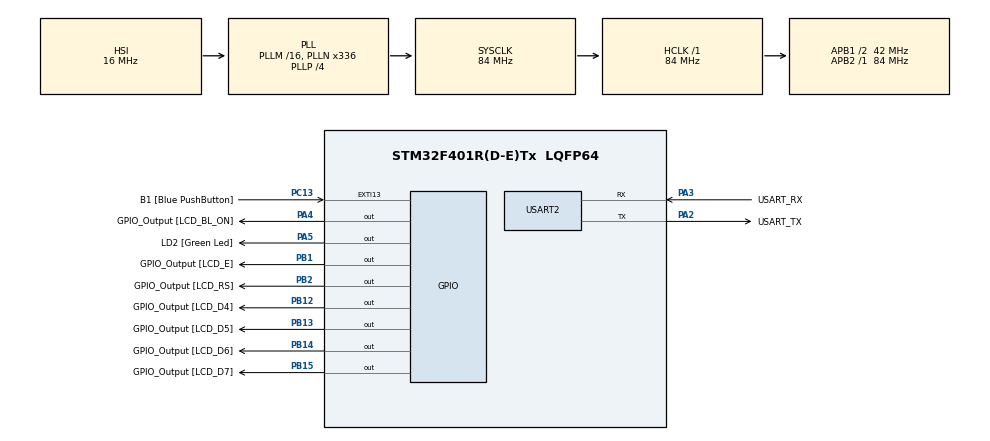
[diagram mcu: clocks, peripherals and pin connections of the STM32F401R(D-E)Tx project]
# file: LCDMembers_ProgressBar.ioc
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Mcu.Family=STM32F4
Mcu.Name=STM32F401R(D-E)Tx
Mcu.Package=LQFP64
NVIC.PriorityGroup=NVIC_PRIORITYGROUP_4
NVIC.TIM2_IRQn=true\:0\:0\:false\:false\:true\:true\:true\:true
PA13.GPIO_Label=TMS
PA13.Mode=Trace_Asynchronous_SW
PA13.Signal=SYS_JTMS-SWDIO
PA14.GPIO_Label=TCK
PA14.Mode=Trace_Asynchronous_SW
PA14.Signal=SYS_JTCK-SWCLK
PA2.GPIO_Label=USART_TX
PA2.GPIO_Mode=GPIO_MODE_AF_PP
PA2.GPIO_PuPd=GPIO_NOPULL
PA2.GPIO_Speed=GPIO_SPEED_FREQ_LOW
PA2.Mode=Asynchronous
PA2.Signal=USART2_TX
PA3.GPIO_Label=USART_RX
PA3.GPIO_Mode=GPIO_MODE_AF_PP
PA3.GPIO_PuPd=GPIO_NOPULL
PA3.GPIO_Speed=GPIO_SPEED_FREQ_LOW
PA3.Mode=Asynchronous
PA3.Signal=USART2_RX
PA4.GPIO_Label=GPIO_Output [LCD_BL_ON]
PA4.Signal=GPIO_Output
PA5.GPIO_Label=LD2 [Green Led]
PA5.GPIO_Mode=GPIO_MODE_OUTPUT_PP
PA5.GPIO_PuPd=GPIO_NOPULL
PA5.GPIO_Speed=GPIO_SPEED_FREQ_LOW
PA5.Signal=GPIO_Output
PB1.GPIO_Label=GPIO_Output [LCD_E]
PB1.Signal=GPIO_Output
PB12.GPIO_Label=GPIO_Output [LCD_D4]
PB12.Signal=GPIO_Output
PB13.GPIO_Label=GPIO_Output [LCD_D5]
PB13.Signal=GPIO_Output
PB14.GPIO_Label=GPIO_Output [LCD_D6]
PB14.Signal=GPIO_Output
PB15.GPIO_Label=GPIO_Output [LCD_D7]
PB15.Signal=GPIO_Output
PB2.GPIO_Label=GPIO_Output [LCD_RS]
PB2.Signal=GPIO_Output
PB3.GPIO_Label=SWO
PB3.Mode=Trace_Asynchronous_SW
PB3.Signal=SYS_JTDO-SWO
PC13-ANTI_TAMP.GPIO_Label=B1 [Blue PushButton]
PC13-ANTI_TAMP.GPIO_ModeDefaultEXTI=GPIO_MODE_IT_FALLING
PC13-ANTI_TAMP.GPIO_PuPd=GPIO_NOPULL
PC13-ANTI_TAMP.Signal=GPXTI13
PC14-OSC32_IN.Mode=LSE-External-Oscillator
PC14-OSC32_IN.Signal=RCC_OSC32_IN
PC15-OSC32_OUT.Mode=LSE-External-Oscillator
PC15-OSC32_OUT.Signal=RCC_OSC32_OUT
PH0\ -\ OSC_IN.Mode=HSE-External-Clock-Source
PH0\ -\ OSC_IN.Signal=RCC_OSC_IN
PH1\ -\ OSC_OUT.Mode=HSE-External-Clock-Source
PH1\ -\ OSC_OUT.Signal=RCC_OSC_OUT
ProjectManager.HeapSize=0x200
ProjectManager.StackSize=0x400
ProjectManager.TargetToolchain=STM32CubeIDE
RCC.48MHZClocksFreq_Value=48000000
RCC.AHBFreq_Value=84000000
RCC.APB1CLKDivider=RCC_HCLK_DIV2
RCC.APB1Freq_Value=42000000
RCC.APB1TimFreq_Value=84000000
RCC.APB2Freq_Value=84000000
RCC.APB2TimFreq_Value=84000000
RCC.CortexFreq_Value=84000000
RCC.HCLKFreq_Value=84000000
RCC.HSE_VALUE=8000000
RCC.HSI_VALUE=16000000
RCC.PLLN=336
RCC.PLLP=RCC_PLLP_DIV4
RCC.PLLQ=7
RCC.SYSCLKFreq_VALUE=84000000
RCC.SYSCLKSource=RCC_SYSCLKSOURCE_PLLCLK
RCC.VCOOutputFreq_Value=336000000
TIM2.Period=9999
TIM2.Prescaler=8399
USART2.VirtualMode=VM_ASYNC
VP_TIM2_VS_ClockSourceINT.Mode=Internal
board=NUCLEO-F401RE

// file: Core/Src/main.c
/* USER CODE BEGIN Header */
/**
  ******************************************************************************
  * @file           : main.c
  * @brief          : Main program body
  ******************************************************************************
  * @attention
  *
  * Copyright (c) 2025 STMicroelectronics.
  * All rights reserved.
  *
  * This software is licensed under terms that can be found in the LICENSE file
  * in the root directory of this software component.
  * If no LICENSE file comes with this software, it is provided AS-IS.
  *
  ******************************************************************************
  */
/* USER CODE END Header */
#include "main.h"

/* USER CODE BEGIN Includes */
#include "PMDB16_LCD.h"
/* USER CODE END Includes */

TIM_HandleTypeDef htim2;

UART_HandleTypeDef huart2;

/* USER CODE BEGIN PV */
char *names[] = {
    "Mirko",
    "Christian",
    "Gabriele",
    "Mostafa",
    "Sunandha"
};
int NUM_NAMES = sizeof(names)/sizeof(names[0]);
volatile int i = 0;
/* USER CODE END PV */

void SystemClock_Config(void);
static void MX_GPIO_Init(void);
static void MX_USART2_UART_Init(void);
static void MX_TIM2_Init(void);

/* USER CODE BEGIN 0 */
void HAL_TIM_PeriodElapsedCallback(TIM_HandleTypeDef *htim){
    if (htim->Instance == TIM2){

    	lcd_println(names[i], 0);

    	int bar = i * 80 / 5;
    	lcd_drawBar(bar);
    	i = (i + 1) % NUM_NAMES;
	}
}
/* USER CODE END 0 */

int main(void)
{

  /* MCU Configuration--------------------------------------------------------*/

  /* Reset of all peripherals, Initializes the Flash interface and the Systick. */
  HAL_Init();

  /* Configure the system clock */
  SystemClock_Config();

  /* Initialize all configured peripherals */
  MX_GPIO_Init();
  MX_USART2_UART_Init();
  MX_TIM2_Init();
  /* USER CODE BEGIN 2 */
  lcd_initialize();
  lcd_println(names[i], 1);
  HAL_TIM_Base_Start_IT(&htim2);
  /* USER CODE END 2 */

  /* Infinite loop */
  while (1)
  {

  }
}

void SystemClock_Config(void)
{
  RCC_OscInitTypeDef RCC_OscInitStruct = {0};
  RCC_ClkInitTypeDef RCC_ClkInitStruct = {0};

  /** Configure the main internal regulator output voltage
  */
  __HAL_RCC_PWR_CLK_ENABLE();
  __HAL_PWR_VOLTAGESCALING_CONFIG(PWR_REGULATOR_VOLTAGE_SCALE2);

  /** Initializes the RCC Oscillators according to the specified parameters
  * in the RCC_OscInitTypeDef structure.
  */
  RCC_OscInitStruct.OscillatorType = RCC_OSCILLATORTYPE_HSI;
  RCC_OscInitStruct.HSIState = RCC_HSI_ON;
  RCC_OscInitStruct.HSICalibrationValue = RCC_HSICALIBRATION_DEFAULT;
  RCC_OscInitStruct.PLL.PLLState = RCC_PLL_ON;
  RCC_OscInitStruct.PLL.PLLSource = RCC_PLLSOURCE_HSI;
  RCC_OscInitStruct.PLL.PLLM = 16;
  RCC_OscInitStruct.PLL.PLLN = 336;
  RCC_OscInitStruct.PLL.PLLP = RCC_PLLP_DIV4;
  RCC_OscInitStruct.PLL.PLLQ = 7;
  if (HAL_RCC_OscConfig(&RCC_OscInitStruct) != HAL_OK)
  {
    Error_Handler();
  }

  /** Initializes the CPU, AHB and APB buses clocks
  */
  RCC_ClkInitStruct.ClockType = RCC_CLOCKTYPE_HCLK|RCC_CLOCKTYPE_SYSCLK
                              |RCC_CLOCKTYPE_PCLK1|RCC_CLOCKTYPE_PCLK2;
  RCC_ClkInitStruct.SYSCLKSource = RCC_SYSCLKSOURCE_PLLCLK;
  RCC_ClkInitStruct.AHBCLKDivider = RCC_SYSCLK_DIV1;
  RCC_ClkInitStruct.APB1CLKDivider = RCC_HCLK_DIV2;
  RCC_ClkInitStruct.APB2CLKDivider = RCC_HCLK_DIV1;

  if (HAL_RCC_ClockConfig(&RCC_ClkInitStruct, FLASH_LATENCY_2) != HAL_OK)
  {
    Error_Handler();
  }
}

static void MX_TIM2_Init(void)
{

  TIM_ClockConfigTypeDef sClockSourceConfig = {0};
  TIM_MasterConfigTypeDef sMasterConfig = {0};

  htim2.Instance = TIM2;
  htim2.Init.Prescaler = 8399;
  htim2.Init.CounterMode = TIM_COUNTERMODE_UP;
  htim2.Init.Period = 9999;
  htim2.Init.ClockDivision = TIM_CLOCKDIVISION_DIV1;
  htim2.Init.AutoReloadPreload = TIM_AUTORELOAD_PRELOAD_DISABLE;
  if (HAL_TIM_Base_Init(&htim2) != HAL_OK)
  {
    Error_Handler();
  }
  sClockSourceConfig.ClockSource = TIM_CLOCKSOURCE_INTERNAL;
  if (HAL_TIM_ConfigClockSource(&htim2, &sClockSourceConfig) != HAL_OK)
  {
    Error_Handler();
  }
  sMasterConfig.MasterOutputTrigger = TIM_TRGO_RESET;
  sMasterConfig.MasterSlaveMode = TIM_MASTERSLAVEMODE_DISABLE;
  if (HAL_TIMEx_MasterConfigSynchronization(&htim2, &sMasterConfig) != HAL_OK)
  {
    Error_Handler();
  }

}

static void MX_USART2_UART_Init(void)
{

  huart2.Instance = USART2;
  huart2.Init.BaudRate = 115200;
  huart2.Init.WordLength = UART_WORDLENGTH_8B;
  huart2.Init.StopBits = UART_STOPBITS_1;
  huart2.Init.Parity = UART_PARITY_NONE;
  huart2.Init.Mode = UART_MODE_TX_RX;
  huart2.Init.HwFlowCtl = UART_HWCONTROL_NONE;
  huart2.Init.OverSampling = UART_OVERSAMPLING_16;
  if (HAL_UART_Init(&huart2) != HAL_OK)
  {
    Error_Handler();
  }

}

static void MX_GPIO_Init(void)
{
  GPIO_InitTypeDef GPIO_InitStruct = {0};

  /* GPIO Ports Clock Enable */
  __HAL_RCC_GPIOC_CLK_ENABLE();
  __HAL_RCC_GPIOH_CLK_ENABLE();
  __HAL_RCC_GPIOA_CLK_ENABLE();
  __HAL_RCC_GPIOB_CLK_ENABLE();

  /*Configure GPIO pin Output Level */
  HAL_GPIO_WritePin(GPIOA, GPIO_Output_Pin|LD2_Pin, GPIO_PIN_RESET);

  /*Configure GPIO pin Output Level */
  HAL_GPIO_WritePin(GPIOB, GPIO_OutputB1_Pin|GPIO_OutputB2_Pin|GPIO_OutputB12_Pin|GPIO_OutputB13_Pin
                          |GPIO_OutputB14_Pin|GPIO_OutputB15_Pin, GPIO_PIN_RESET);

  /*Configure GPIO pin : B1_Pin */
  GPIO_InitStruct.Pin = B1_Pin;
  GPIO_InitStruct.Mode = GPIO_MODE_IT_FALLING;
  GPIO_InitStruct.Pull = GPIO_NOPULL;
  HAL_GPIO_Init(B1_GPIO_Port, &GPIO_InitStruct);

  /*Configure GPIO pins : GPIO_Output_Pin LD2_Pin */
  GPIO_InitStruct.Pin = GPIO_Output_Pin|LD2_Pin;
  GPIO_InitStruct.Mode = GPIO_MODE_OUTPUT_PP;
  GPIO_InitStruct.Pull = GPIO_NOPULL;
  GPIO_InitStruct.Speed = GPIO_SPEED_FREQ_LOW;
  HAL_GPIO_Init(GPIOA, &GPIO_InitStruct);

  /*Configure GPIO pins : GPIO_OutputB1_Pin GPIO_OutputB2_Pin GPIO_OutputB12_Pin GPIO_OutputB13_Pin
                           GPIO_OutputB14_Pin GPIO_OutputB15_Pin */
  GPIO_InitStruct.Pin = GPIO_OutputB1_Pin|GPIO_OutputB2_Pin|GPIO_OutputB12_Pin|GPIO_OutputB13_Pin
                          |GPIO_OutputB14_Pin|GPIO_OutputB15_Pin;
  GPIO_InitStruct.Mode = GPIO_MODE_OUTPUT_PP;
  GPIO_InitStruct.Pull = GPIO_NOPULL;
  GPIO_InitStruct.Speed = GPIO_SPEED_FREQ_LOW;
  HAL_GPIO_Init(GPIOB, &GPIO_InitStruct);

}

void Error_Handler(void)
{
  __disable_irq();
  while (1)
  {
  }
}
